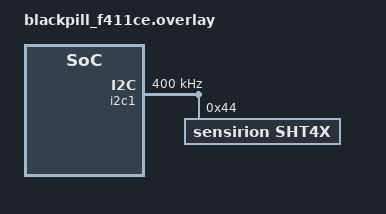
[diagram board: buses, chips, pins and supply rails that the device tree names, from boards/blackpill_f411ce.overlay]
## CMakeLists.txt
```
# Copyright (c) 2025 Antmicro <www.antmicro.com>
# SPDX-License-Identifier: Apache-2.0

cmake_minimum_required(VERSION 3.28.0)

find_package(Zephyr REQUIRED HINTS $ENV{ZEPHYR_BASE})
project(sht4x)

FILE(GLOB app_sources src/*.c)
target_sources(app PRIVATE ${app_sources})
```

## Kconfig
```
# Copyright (c) 2025 Antmicro <www.antmicro.com>
# SPDX-License-Identifier: Apache-2.0

mainmenu "SHT4X sample application"

config APP_USE_HEATER
	bool "Use the Heater on the SHT4X"
	help
	  Maximum duty cycle for using the heater is 5%

config APP_HEATER_HUMIDITY_THRESH
	int "RH [%] threshold above which the heater will be activated"
	range 0 99
	default 65
	depends on APP_USE_HEATER

config APP_HEATER_PULSE_POWER
	int "Heater Power Setting"
	range 0 2
	default 2
	depends on APP_USE_HEATER
	help
	  0 -> High power heater pulse -> ~200 mW  @3.3V
	  1 -> Medium power heater pulse -> ~110 mW  @3.3V
	  2 -> Low power heater pulse -> ~20 mW  @3.3V

config APP_HEATER_PULSE_DURATION_LONG
	bool "Use long pulse duration Heater setting"
	default y
	depends on APP_USE_HEATER
	help
	  Say 'Y' if you want to use the long pulse duration setting. This sets the pulse time to
	  1.1s. Say 'N' if you want to use the short pulse duration setting, which sets the pulse
	  time to 0.11s.

source "Kconfig.zephyr"
```

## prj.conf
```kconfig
# Copyright (c) 2025 Antmicro <www.antmicro.com>
# SPDX-License-Identifier: Apache-2.0

CONFIG_CBPRINTF_FP_SUPPORT=y
CONFIG_I2C=y
CONFIG_SENSOR=y
CONFIG_PM_DEVICE=y
CONFIG_LOG=y
CONFIG_SENSOR_LOG_LEVEL_DBG=y
```

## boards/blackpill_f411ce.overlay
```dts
/*
 * Copyright (c) 2025 Antmicro <www.antmicro.com>
 *
 * SPDX-License-Identifier: Apache-2.0
 */

&i2c1 {
	clock-frequency = <I2C_BITRATE_FAST>;
	status = "okay";

	sht4x@44 {
		compatible = "sensirion,sht4x";
		reg = <0x44>;
		repeatability = <2>;
		status = "okay";
	};
};
```

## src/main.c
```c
/*
 * Copyright (c) 2025 Antmicro <www.antmicro.com>
 *
 * SPDX-License-Identifier: Apache-2.0
 */

#include <zephyr/kernel.h>
#include <zephyr/device.h>
#include <zephyr/drivers/sensor.h>
#include <stdio.h>

#include <zephyr/drivers/sensor/sht4x.h>

#if !DT_HAS_COMPAT_STATUS_OKAY(sensirion_sht4x)
#error "No sensirion,sht4x compatible node found in the device tree"
#endif

int main(void)
{
	const struct device *const sht = DEVICE_DT_GET_ANY(sensirion_sht4x);
	struct sensor_value temp, hum;

	if (!device_is_ready(sht)) {
		printf("Device %s is not ready.\n", sht->name);
		return 0;
	}

#if CONFIG_APP_USE_HEATER
	struct sensor_value heater_p;
	struct sensor_value heater_d;

	heater_p.val1 = CONFIG_APP_HEATER_PULSE_POWER;
	heater_d.val1 = !!CONFIG_APP_HEATER_PULSE_DURATION_LONG;
	sensor_attr_set(sht, SENSOR_CHAN_ALL, SENSOR_ATTR_SHT4X_HEATER_POWER, &heater_p);
	sensor_attr_set(sht, SENSOR_CHAN_ALL, SENSOR_ATTR_SHT4X_HEATER_DURATION, &heater_d);
#endif

	while (true) {
		if (sensor_sample_fetch(sht)) {
			printf("Failed to fetch sample from SHT4X device\n");
			return 0;
		}

		sensor_channel_get(sht, SENSOR_CHAN_AMBIENT_TEMP, &temp);
		sensor_channel_get(sht, SENSOR_CHAN_HUMIDITY, &hum);

#if CONFIG_APP_USE_HEATER
		/*
		 * Conditions in which it makes sense to activate the heater
		 * are application/environment specific.
		 *
		 * The heater should not be used above SHT4X_HEATER_MAX_TEMP (65 °C)
		 * as stated in the datasheet.
		 *
		 * The temperature data will not be updated here for obvious reasons.
		 **/
		if (hum.val1 > CONFIG_APP_HEATER_HUMIDITY_THRESH &&
		    temp.val1 < SHT4X_HEATER_MAX_TEMP) {
			printf("Activating heater.\n");

			if (sht4x_fetch_with_heater(sht)) {
				printf("Failed to fetch sample from SHT4X device\n");
				return 0;
			}

			sensor_channel_get(sht, SENSOR_CHAN_HUMIDITY, &hum);
		}
#endif

		printf("SHT4X: %.2f Temp. [C] ; %0.2f RH [%%]\n", sensor_value_to_double(&temp),
		       sensor_value_to_double(&hum));

#if CONFIG_APP_USE_HEATER && !CONFIG_APP_HEATER_PULSE_DURATION
		k_sleep(K_MSEC(20000));
#else
		k_sleep(K_MSEC(2000));
#endif
	}
}
```
